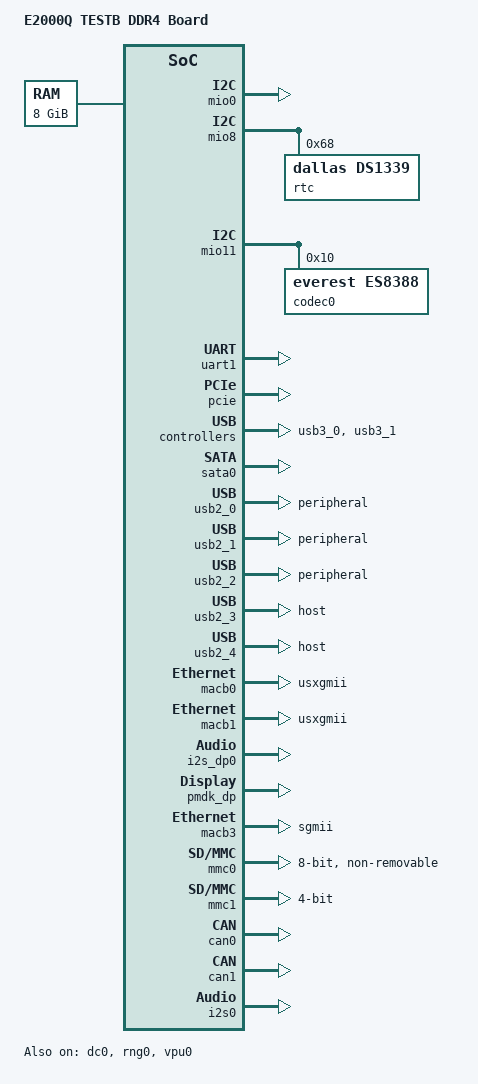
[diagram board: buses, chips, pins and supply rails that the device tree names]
// SPDX-License-Identifier: GPL-2.0
/*
 * DTS file for Phytium E2000Q test board
 *
 * Copyright (C) 2022, Phytium Technology Co., Ltd.
 * 
 * This program is free software; you can redistribute it and/or
 * modify it under the terms of the GNU General Public License as
 * published by the Free Software Foundation; either version 2 of
 * the License, or (at your option) any later version.
 */

/dts-v1/;
/memreserve/ 0x80000000 0x10000;

#include "e2000q.dtsi"

/{
	model = "E2000Q TESTB DDR4 Board";
	compatible = "phytium,e2000q";

	chosen {
		stdout-path = "serial1:115200n8";
	};

	memory@00{
		device_type = "memory";
		reg = <0x0 0x80000000 0x2 0x00000000>;
	};

	sound_card: sound {
		compatible = "simple-audio-card";
		simple-audio-card,format = "i2s";
		simple-audio-card,name = "phytium,e2000-i2s-audio";
		simple-audio-card,cpu {
			sound-dai = <&i2s0>;
		};
		simple-audio-card,codec{
			sound-dai = <&codec0>;
		};
	};
};

&soc {
	mio0: i2c@28014000 {
		compatible = "phytium,i2c";
		reg = <0x0 0x28014000 0x0 0x1000>;
		interrupts = <GIC_SPI 92 IRQ_TYPE_LEVEL_HIGH>;
		clocks = <&sysclk_50mhz>;
		#address-cells = <1>;
		#size-cells = <0>;
		status = "okay";
	};

	mio8: i2c@28024000 {
		compatible = "phytium,i2c";
		reg = <0x0 0x28024000 0x0 0x1000>;
		interrupts = <GIC_SPI 100 IRQ_TYPE_LEVEL_HIGH>;
		clocks = <&sysclk_50mhz>;
		#address-cells = <1>;
		#size-cells = <0>;
		status = "okay";

		rtc@68 {
			compatible = "dallas,ds1339";
			reg = <0x68>;
		};
	};

	mio11: i2c@2802a000 {
		compatible = "phytium,i2c";
		reg = <0x0 0x2802a000 0x0 0x1000>;
		interrupts = <GIC_SPI 103 IRQ_TYPE_LEVEL_HIGH>;
		clocks = <&sysclk_50mhz>;
		#address-cells = <1>;
		#size-cells = <0>;
		status = "okay";

		codec0: es8388@10 {
			#sound-dai-cells = <0>;
			compatible = "everest,es8388";
			reg = <0x10>;
		};
        };
};

&uart1 {
	status = "okay";
};

&pcie {
	status = "okay";
};

&usb3_0 {
	status = "okay";
};

&usb3_1 {
	status = "okay";
};

&sata0 {
	status = "okay";
};

&usb2_0 {
	dr_mode = "peripheral";
	status = "okay";
};

&usb2_1 {
	dr_mode = "peripheral";
	status = "okay";
};

&usb2_2 {
	dr_mode = "peripheral";
	status = "okay";
};

&usb2_3 {
	dr_mode = "host";
	status = "okay";
};

&usb2_4 {
	dr_mode = "host";
	status = "okay";
};

&macb0 {
	phy-mode = "usxgmii";
	status = "okay";
};

&macb1 {
	phy-mode = "usxgmii";
	status = "okay";
};

&dc0 {
	pipe_mask = /bits/ 8 <0x1>;
	edp_mask = /bits/ 8 <0x0>;
	status = "okay";
};

&i2s_dp0 {
	dai-name = "phytium-i2s-dp0";
	status = "okay";
};

&pmdk_dp{
	num-dp = <1>;
	status = "okay";
};

&macb3 {
	phy-mode = "sgmii";
	use-mii;
	status = "okay";
};

&mmc0 {
	bus-width = <0x00000008>;
	max-frequency = <50000000>;
	cap-mmc-hw-reset;
	cap-mmc-highspeed;
	no-sdio;
	no-sd;
	non-removable;
	status = "okay";
};

&mmc1 {
	bus-width = <0x00000004>;
	max-frequency = <50000000>;
	cap-sdio-irq;
	cap-sd-highspeed;
	sd-uhs-sdr25;
	no-mmc;
	status = "okay";
};

&can0 {
	status = "okay";
};

&can1 {
	status = "okay";
};

&i2s0 {
	#sound-dai-cells = <0>;
	dai-name = "phytium-i2s-lsd";
	status = "okay";
};

&sound_card {
	status = "okay";
};

&gpio3 {
	status = "okay";
};

&rng0 {
	status = "okay";
};

&vpu0 {
    status = "okay";
};
